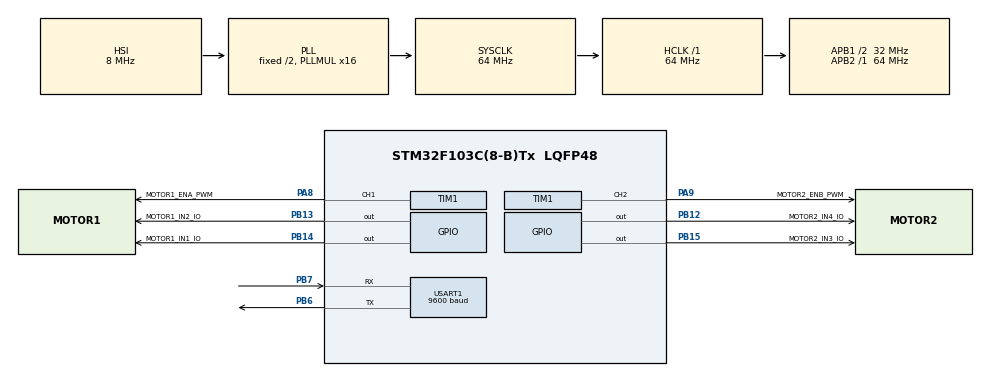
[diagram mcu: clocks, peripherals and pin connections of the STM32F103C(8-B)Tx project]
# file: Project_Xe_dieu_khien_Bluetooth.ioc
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Mcu.Family=STM32F1
Mcu.Name=STM32F103C(8-B)Tx
Mcu.Package=LQFP48
NVIC.PriorityGroup=NVIC_PRIORITYGROUP_4
NVIC.USART1_IRQn=true\:1\:0\:true\:false\:true\:true\:true\:true
PA13.Mode=Serial_Wire
PA13.Signal=SYS_JTMS-SWDIO
PA14.Mode=Serial_Wire
PA14.Signal=SYS_JTCK-SWCLK
PA8.GPIO_Label=MOTOR1_ENA_PWM
PA8.Signal=S_TIM1_CH1
PA9.GPIO_Label=MOTOR2_ENB_PWM
PA9.Signal=S_TIM1_CH2
PB12.GPIO_Label=MOTOR2_IN4_IO
PB12.Signal=GPIO_Output
PB13.GPIO_Label=MOTOR1_IN2_IO
PB13.Signal=GPIO_Output
PB14.GPIO_Label=MOTOR1_IN1_IO
PB14.Signal=GPIO_Output
PB15.GPIO_Label=MOTOR2_IN3_IO
PB15.Signal=GPIO_Output
PB6.Mode=Asynchronous
PB6.Signal=USART1_TX
PB7.Mode=Asynchronous
PB7.Signal=USART1_RX
PD0-OSC_IN.Mode=HSE-External-Oscillator
PD0-OSC_IN.Signal=RCC_OSC_IN
PD1-OSC_OUT.Mode=HSE-External-Oscillator
PD1-OSC_OUT.Signal=RCC_OSC_OUT
ProjectManager.HeapSize=0x200
ProjectManager.StackSize=0x400
ProjectManager.TargetToolchain=MDK-ARM V5.32
RCC.AHBFreq_Value=64000000
RCC.APB1CLKDivider=RCC_HCLK_DIV2
RCC.APB1Freq_Value=32000000
RCC.APB1TimFreq_Value=64000000
RCC.APB2Freq_Value=64000000
RCC.APB2TimFreq_Value=64000000
RCC.HCLKFreq_Value=64000000
RCC.PLLMUL=RCC_PLL_MUL16
RCC.SYSCLKFreq_VALUE=64000000
RCC.SYSCLKSource=RCC_SYSCLKSOURCE_PLLCLK
RCC.USBFreq_Value=64000000
SH.S_TIM1_CH1.0=TIM1_CH1,PWM Generation1 CH1
SH.S_TIM1_CH2.0=TIM1_CH2,PWM Generation2 CH2
TIM1.Channel-PWM\ Generation1\ CH1=TIM_CHANNEL_1
TIM1.Channel-PWM\ Generation2\ CH2=TIM_CHANNEL_2
TIM1.Period=999
TIM1.Prescaler=63
USART1.BaudRate=9600
USART1.VirtualMode=VM_ASYNC
VP_TIM1_VS_ClockSourceINT.Mode=Internal
board=custom

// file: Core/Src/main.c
/* USER CODE BEGIN Header */
/**
  ******************************************************************************
  * @file           : main.c
  * @brief          : Main program body
  ******************************************************************************
  * @attention
  *
  * Copyright (c) 2026 STMicroelectronics.
  * All rights reserved.
  *
  * This software is licensed under terms that can be found in the LICENSE file
  * in the root directory of this software component.
  * If no LICENSE file comes with this software, it is provided AS-IS.
  *
  ******************************************************************************
  */
/* USER CODE END Header */
#include "main.h"

/* USER CODE BEGIN Includes */
#include "car.h"
/* USER CODE END Includes */

/* USER CODE BEGIN PD */
// Motor 1 dung IN1 va IN2, Motor 2 dung IN3 va IN4

/* USER CODE END PD */

TIM_HandleTypeDef htim1;

UART_HandleTypeDef huart1;

void SystemClock_Config(void);
static void MX_GPIO_Init(void);
static void MX_TIM1_Init(void);
static void MX_USART1_UART_Init(void);

/* USER CODE BEGIN 0 */
   int speed = 10 ;
   int check1 = 0;
	 int check2 = 0;
	 int check3 = 0;
	 int check4 = 0;
   uint8_t data_rx;
	 uint8_t flag = 0;
	 void HAL_UART_RxCpltCallback(UART_HandleTypeDef *huart){
		 if(huart->Instance==huart1.Instance){
		 flag = 1;
		 HAL_UART_Receive_IT(&huart1,&data_rx,1);
		 }
	 }
/* USER CODE END 0 */

int main(void)
{

  /* MCU Configuration--------------------------------------------------------*/

  /* Reset of all peripherals, Initializes the Flash interface and the Systick. */
  HAL_Init();

  /* Configure the system clock */
  SystemClock_Config();

  /* Initialize all configured peripherals */
  MX_GPIO_Init();
  MX_TIM1_Init();
  MX_USART1_UART_Init();
  /* USER CODE BEGIN 2 */
 car_init(&htim1);
 HAL_UART_Receive_IT(&huart1,&data_rx,1);

  /* USER CODE END 2 */

  /* Infinite loop */
  while (1)
  {

    /* USER CODE BEGIN 3 */
		if(flag){
			switch (data_rx)
			{
				case 'S' :
					car_control(CAR_STOP,0);
				break;
				case 'F' :
					car_control(CAR_FORWARD,speed);
				break;
				case 'L' :
					car_control(CAR_LEFT,speed);
				break;
				case 'R' :
					car_control(CAR_RIGHT,speed);
				break;
				case 'B' :
					car_control(CAR_BACKWARD,speed);
				break;
				default :
					if(data_rx>='0'&&data_rx<='9' ){
						speed = (data_rx-'0'+1)*10;
					}
					break;
			}
			flag=0;
		}

		check1 = HAL_GPIO_ReadPin(GPIOB,GPIO_PIN_14);
		check2 = HAL_GPIO_ReadPin(GPIOB,GPIO_PIN_13);
		check3 = HAL_GPIO_ReadPin(GPIOB,GPIO_PIN_15);
		check4 = HAL_GPIO_ReadPin(GPIOB,GPIO_PIN_12);

  }
  /* USER CODE END 3 */
}

void SystemClock_Config(void)
{
  RCC_OscInitTypeDef RCC_OscInitStruct = {0};
  RCC_ClkInitTypeDef RCC_ClkInitStruct = {0};

  /** Initializes the RCC Oscillators according to the specified parameters
  * in the RCC_OscInitTypeDef structure.
  */
  RCC_OscInitStruct.OscillatorType = RCC_OSCILLATORTYPE_HSI;
  RCC_OscInitStruct.HSIState = RCC_HSI_ON;
  RCC_OscInitStruct.HSICalibrationValue = RCC_HSICALIBRATION_DEFAULT;
  RCC_OscInitStruct.PLL.PLLState = RCC_PLL_ON;
  RCC_OscInitStruct.PLL.PLLSource = RCC_PLLSOURCE_HSI_DIV2;
  RCC_OscInitStruct.PLL.PLLMUL = RCC_PLL_MUL16;
  if (HAL_RCC_OscConfig(&RCC_OscInitStruct) != HAL_OK)
  {
    Error_Handler();
  }

  /** Initializes the CPU, AHB and APB buses clocks
  */
  RCC_ClkInitStruct.ClockType = RCC_CLOCKTYPE_HCLK|RCC_CLOCKTYPE_SYSCLK
                              |RCC_CLOCKTYPE_PCLK1|RCC_CLOCKTYPE_PCLK2;
  RCC_ClkInitStruct.SYSCLKSource = RCC_SYSCLKSOURCE_PLLCLK;
  RCC_ClkInitStruct.AHBCLKDivider = RCC_SYSCLK_DIV1;
  RCC_ClkInitStruct.APB1CLKDivider = RCC_HCLK_DIV2;
  RCC_ClkInitStruct.APB2CLKDivider = RCC_HCLK_DIV1;

  if (HAL_RCC_ClockConfig(&RCC_ClkInitStruct, FLASH_LATENCY_2) != HAL_OK)
  {
    Error_Handler();
  }
}

static void MX_TIM1_Init(void)
{

  TIM_ClockConfigTypeDef sClockSourceConfig = {0};
  TIM_MasterConfigTypeDef sMasterConfig = {0};
  TIM_OC_InitTypeDef sConfigOC = {0};
  TIM_BreakDeadTimeConfigTypeDef sBreakDeadTimeConfig = {0};

  htim1.Instance = TIM1;
  htim1.Init.Prescaler = 63;
  htim1.Init.CounterMode = TIM_COUNTERMODE_UP;
  htim1.Init.Period = 999;
  htim1.Init.ClockDivision = TIM_CLOCKDIVISION_DIV1;
  htim1.Init.RepetitionCounter = 0;
  htim1.Init.AutoReloadPreload = TIM_AUTORELOAD_PRELOAD_DISABLE;
  if (HAL_TIM_Base_Init(&htim1) != HAL_OK)
  {
    Error_Handler();
  }
  sClockSourceConfig.ClockSource = TIM_CLOCKSOURCE_INTERNAL;
  if (HAL_TIM_ConfigClockSource(&htim1, &sClockSourceConfig) != HAL_OK)
  {
    Error_Handler();
  }
  if (HAL_TIM_PWM_Init(&htim1) != HAL_OK)
  {
    Error_Handler();
  }
  sMasterConfig.MasterOutputTrigger = TIM_TRGO_RESET;
  sMasterConfig.MasterSlaveMode = TIM_MASTERSLAVEMODE_DISABLE;
  if (HAL_TIMEx_MasterConfigSynchronization(&htim1, &sMasterConfig) != HAL_OK)
  {
    Error_Handler();
  }
  sConfigOC.OCMode = TIM_OCMODE_PWM1;
  sConfigOC.Pulse = 0;
  sConfigOC.OCPolarity = TIM_OCPOLARITY_HIGH;
  sConfigOC.OCNPolarity = TIM_OCNPOLARITY_HIGH;
  sConfigOC.OCFastMode = TIM_OCFAST_DISABLE;
  sConfigOC.OCIdleState = TIM_OCIDLESTATE_RESET;
  sConfigOC.OCNIdleState = TIM_OCNIDLESTATE_RESET;
  if (HAL_TIM_PWM_ConfigChannel(&htim1, &sConfigOC, TIM_CHANNEL_1) != HAL_OK)
  {
    Error_Handler();
  }
  if (HAL_TIM_PWM_ConfigChannel(&htim1, &sConfigOC, TIM_CHANNEL_2) != HAL_OK)
  {
    Error_Handler();
  }
  sBreakDeadTimeConfig.OffStateRunMode = TIM_OSSR_DISABLE;
  sBreakDeadTimeConfig.OffStateIDLEMode = TIM_OSSI_DISABLE;
  sBreakDeadTimeConfig.LockLevel = TIM_LOCKLEVEL_OFF;
  sBreakDeadTimeConfig.DeadTime = 0;
  sBreakDeadTimeConfig.BreakState = TIM_BREAK_DISABLE;
  sBreakDeadTimeConfig.BreakPolarity = TIM_BREAKPOLARITY_HIGH;
  sBreakDeadTimeConfig.AutomaticOutput = TIM_AUTOMATICOUTPUT_DISABLE;
  if (HAL_TIMEx_ConfigBreakDeadTime(&htim1, &sBreakDeadTimeConfig) != HAL_OK)
  {
    Error_Handler();
  }
  HAL_TIM_MspPostInit(&htim1);

}

static void MX_USART1_UART_Init(void)
{

  huart1.Instance = USART1;
  huart1.Init.BaudRate = 9600;
  huart1.Init.WordLength = UART_WORDLENGTH_8B;
  huart1.Init.StopBits = UART_STOPBITS_1;
  huart1.Init.Parity = UART_PARITY_NONE;
  huart1.Init.Mode = UART_MODE_TX_RX;
  huart1.Init.HwFlowCtl = UART_HWCONTROL_NONE;
  huart1.Init.OverSampling = UART_OVERSAMPLING_16;
  if (HAL_UART_Init(&huart1) != HAL_OK)
  {
    Error_Handler();
  }

}

static void MX_GPIO_Init(void)
{
  GPIO_InitTypeDef GPIO_InitStruct = {0};

  /* GPIO Ports Clock Enable */
  __HAL_RCC_GPIOD_CLK_ENABLE();
  __HAL_RCC_GPIOB_CLK_ENABLE();
  __HAL_RCC_GPIOA_CLK_ENABLE();

  /*Configure GPIO pin Output Level */
  HAL_GPIO_WritePin(GPIOB, MOTOR2_IN4_IO_Pin|MOTOR1_IN2_IO_Pin|MOTOR1_IN1_IO_Pin|MOTOR2_IN3_IO_Pin, GPIO_PIN_RESET);

  /*Configure GPIO pins : MOTOR2_IN4_IO_Pin MOTOR1_IN2_IO_Pin MOTOR1_IN1_IO_Pin MOTOR2_IN3_IO_Pin */
  GPIO_InitStruct.Pin = MOTOR2_IN4_IO_Pin|MOTOR1_IN2_IO_Pin|MOTOR1_IN1_IO_Pin|MOTOR2_IN3_IO_Pin;
  GPIO_InitStruct.Mode = GPIO_MODE_OUTPUT_PP;
  GPIO_InitStruct.Pull = GPIO_NOPULL;
  GPIO_InitStruct.Speed = GPIO_SPEED_FREQ_LOW;
  HAL_GPIO_Init(GPIOB, &GPIO_InitStruct);

}

void Error_Handler(void)
{
  __disable_irq();
  while (1)
  {
  }
}
